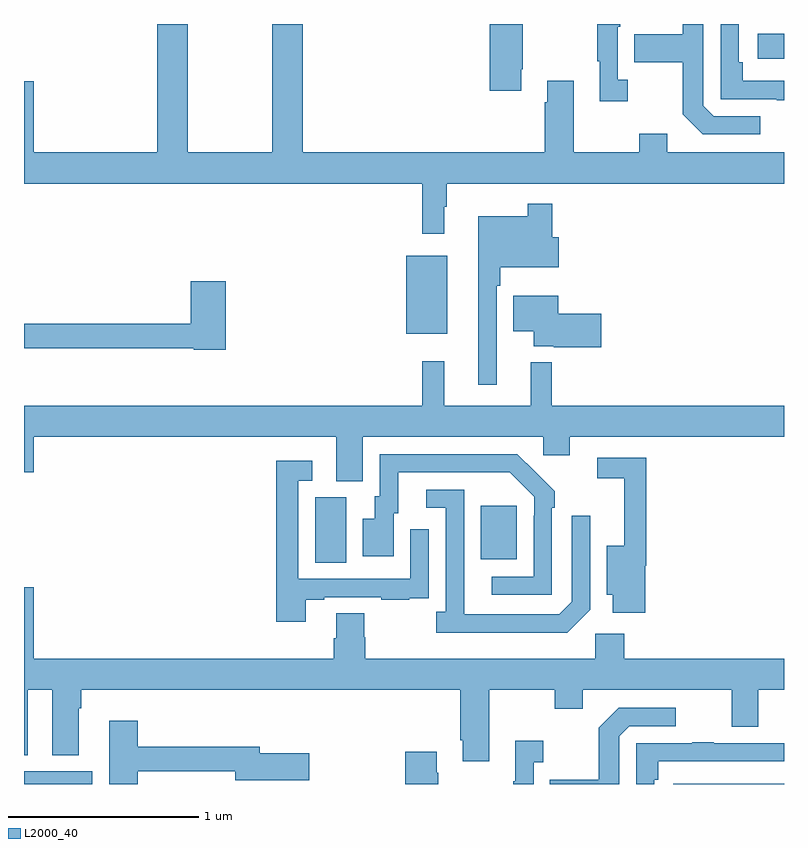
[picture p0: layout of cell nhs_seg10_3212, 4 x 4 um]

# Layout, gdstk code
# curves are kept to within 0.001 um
import gdstk
lib = gdstk.Library(unit=1e-6, precision=1e-09)
def R(c, l, rs):  # rectangles x0, y0, x1, y1
    for r in rs: c.add(gdstk.rectangle(r[:2], r[2:], *l))
def P(c, l, *ps):  # polygons
    for p in ps: c.add(gdstk.Polygon(p, *l))
L2000_40 = (2000, 40)

nhs_seg10_3212 = lib.new_cell('nhs_seg10_3212')
R(nhs_seg10_3212, L2000_40, [(285,1286.5,285.36,1286.566), (288.417,1286.5,289,1286.502), (286.532,1287.664,286.696,1288.008), (287.405,1287.683,287.593,1287.964), (287.012,1288.871,287.227,1289.281), (288.861,1290.318,289,1290.448)])
P(nhs_seg10_3212, L2000_40, [(287.212,1289.537),(287.224,1289.537),(287.224,1289.66),(289,1289.66),(289,1289.824),(288.385,1289.824),(288.385,1289.923),(288.238,1289.923),(288.238,1289.824),(287.893,1289.824),(287.893,1290.202),(287.753,1290.202),(287.753,1290.089),(287.741,1290.089),(287.741,1289.824),(286.466,1289.824),(286.466,1290.5),(286.306,1290.5),(286.306,1289.824),(285.861,1289.824),(285.861,1290.5),(285.701,1290.5),(285.701,1289.824),(285.052,1289.824),(285.052,1290.199),(285,1290.199),(285,1289.66),(287.095,1289.66),(287.095,1289.397),(287.212,1289.397)],
  [(289,1290.201),(288.782,1290.201),(288.782,1290.298),(288.762,1290.298),(288.762,1290.5),(288.666,1290.5),(288.666,1290.105),(288.961,1290.105),(288.961,1290.1),(289,1290.1)],
  [(288.178,1290.206),(288.126,1290.206),(288.126,1290.485),(288.139,1290.485),(288.139,1290.5),(288.018,1290.5),(288.018,1290.305),(288.029,1290.305),(288.029,1290.093),(288.178,1290.093)],
  [(288.874,1290.015),(288.63,1290.015),(288.576,1290.069),(288.576,1290.5),(288.468,1290.5),(288.468,1290.445),(288.211,1290.445),(288.211,1290.298),(288.468,1290.298),(288.468,1290.025),(288.573,1289.919),(288.874,1289.919)],
  [(287.617,1290.262),(287.625,1290.262),(287.625,1290.5),(287.45,1290.5),(287.45,1290.15),(287.617,1290.15)],
  [(287.487,1289.123),(287.507,1289.123),(287.507,1289.219),(287.815,1289.219),(287.815,1289.377),(287.78,1289.377),(287.78,1289.554),(287.652,1289.554),(287.652,1289.488),(287.39,1289.488),(287.39,1288.602),(287.487,1288.602)],
  [(286.061,1289.146),(285.878,1289.146),(285.878,1288.922),(285,1288.922),(285,1288.794),(285.894,1288.794),(285.894,1288.786),(286.061,1288.786)],
  [(288.037,1288.976),(287.812,1288.976),(287.812,1289.071),(287.576,1289.071),(287.576,1288.883),(287.684,1288.883),(287.684,1288.805),(287.788,1288.805),(287.788,1288.8),(288.037,1288.8)],
  [(287.733,1288.23),(287.872,1288.23),(287.872,1288.328),(289,1288.328),(289,1288.492),(287.778,1288.492),(287.778,1288.72),(287.666,1288.72),(287.666,1288.492),(287.213,1288.492),(287.213,1288.726),(287.095,1288.726),(287.095,1288.492),(285,1288.492),(285,1288.14),(285.052,1288.14),(285.052,1288.328),(286.643,1288.328),(286.643,1288.093),(286.783,1288.093),(286.783,1288.328),(287.733,1288.328)],
  [(287.778,1287.953),(287.793,1287.953),(287.793,1288.041),(287.596,1288.236),(286.872,1288.236),(286.872,1288.014),(286.847,1288.014),(286.847,1287.895),(286.784,1287.895),(286.784,1287.699),(286.945,1287.699),(286.945,1287.924),(286.969,1287.924),(286.969,1288.14),(287.557,1288.14),(287.685,1288.011),(287.685,1287.911),(287.682,1287.911),(287.682,1287.591),(287.463,1287.591),(287.463,1287.495),(287.778,1287.495)],
  [(288.269,1287.65),(288.275,1287.65),(288.275,1288.218),(288.018,1288.218),(288.018,1288.11),(288.158,1288.11),(288.158,1287.754),(288.068,1287.754),(288.068,1287.497),(288.098,1287.497),(288.098,1287.402),(288.269,1287.402)],
  [(286.483,1287.471),(286.579,1287.471),(286.579,1287.483),(286.879,1287.483),(286.879,1287.471),(287.027,1287.471),(287.027,1287.477),(287.129,1287.477),(287.129,1287.586),(287.13,1287.586),(287.13,1287.841),(287.034,1287.841),(287.034,1287.579),(286.443,1287.579),(286.443,1288.095),(286.516,1288.095),(286.516,1288.201),(286.327,1288.201),(286.327,1287.354),(286.483,1287.354)],
  [(287.979,1287.417),(287.979,1287.913),(287.883,1287.913),(287.883,1287.459),(287.817,1287.393),(287.316,1287.393),(287.316,1288.05),(287.118,1288.05),(287.118,1287.954),(287.22,1287.954),(287.22,1287.406),(287.169,1287.406),(287.169,1287.296),(287.858,1287.296)],
  [(285,1286.651),(285.019,1286.651),(285.019,1286.996),(285.149,1286.996),(285.149,1286.651),(285.289,1286.651),(285.289,1286.9),(285.302,1286.9),(285.302,1286.996),(287.297,1286.996),(287.297,1286.731),(287.309,1286.731),(287.309,1286.619),(287.449,1286.619),(287.449,1286.996),(287.794,1286.996),(287.794,1286.897),(287.941,1286.897),(287.941,1286.996),(288.725,1286.996),(288.725,1286.802),(288.865,1286.802),(288.865,1286.996),(289,1286.996),(289,1287.16),(288.158,1287.16),(288.158,1287.292),(288.006,1287.292),(288.006,1287.16),(286.796,1287.16),(286.796,1287.273),(286.791,1287.273),(286.791,1287.398),(286.643,1287.398),(286.643,1287.266),(286.631,1287.266),(286.631,1287.16),(285.052,1287.16),(285.052,1287.535),(285,1287.535)],
  [(288.132,1286.751),(288.186,1286.805),(288.43,1286.805),(288.43,1286.901),(288.129,1286.901),(288.024,1286.795),(288.024,1286.523),(287.767,1286.523),(287.767,1286.5),(288.132,1286.5)],
  [(285.599,1286.566),(286.112,1286.566),(286.112,1286.519),(286.501,1286.519),(286.501,1286.661),(286.24,1286.661),(286.24,1286.695),(285.599,1286.695),(285.599,1286.833),(285.449,1286.833),(285.449,1286.5),(285.599,1286.5)],
  [(287.682,1286.615),(287.734,1286.615),(287.734,1286.728),(287.585,1286.728),(287.585,1286.515),(287.574,1286.515),(287.574,1286.5),(287.682,1286.5)],
  [(288.318,1286.522),(288.338,1286.522),(288.338,1286.619),(289,1286.619),(289,1286.715),(288.629,1286.715),(288.629,1286.72),(288.517,1286.72),(288.517,1286.715),(288.222,1286.715),(288.222,1286.5),(288.318,1286.5)],
  [(287.181,1286.558),(287.173,1286.558),(287.173,1286.671),(287.006,1286.671),(287.006,1286.5),(287.181,1286.5)])

lib.write_gds('nhs_seg10_3212.gds')
